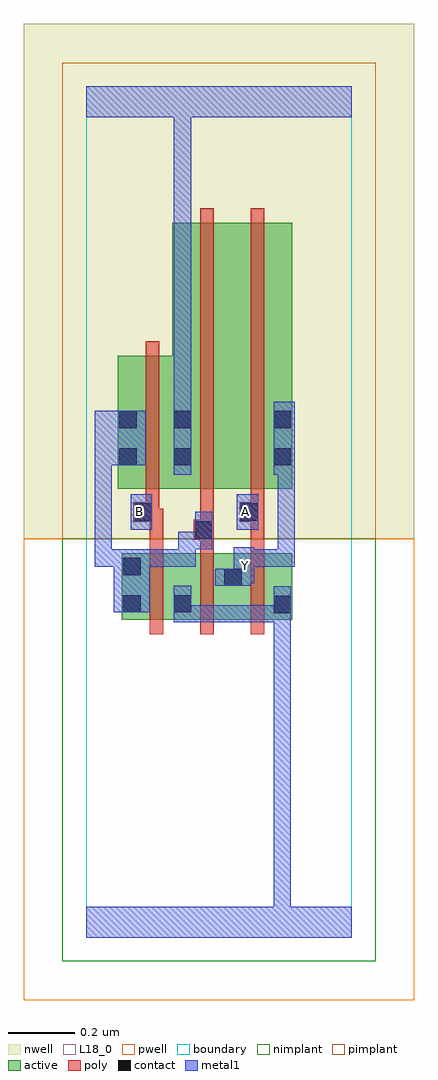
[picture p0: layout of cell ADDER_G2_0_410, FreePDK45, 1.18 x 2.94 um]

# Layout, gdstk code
import gdstk
lib = gdstk.Library(unit=1e-6, precision=1e-09)
def R(c, l, rs):  # rectangles x0, y0, x1, y1
    for r in rs: c.add(gdstk.rectangle(r[:2], r[2:], *l))
def A(c, l, x, y, w, h, nx, ny, dx, dy):  # array of equal rectangles
    R(c, l, [(x+i*dx, y+j*dy, x+i*dx+w, y+j*dy+h) for i in range(nx) for j in range(ny)])
active = (1, 0)
pwell = (2, 0)
nwell = (3, 0)
nimplant = (4, 0)
pimplant = (5, 0)
poly = (9, 0)
contact = (10, 0)
metal1 = (11, 0)
L18_0 = (18, 0)
boundary = (235, 0)

adder_g2_0_410 = lib.new_cell('ADDER_G2_0_410')
R(adder_g2_0_410, active, [(0.108,0.956,0.168,1.156), (0.108,0.956,0.32,1.156), (0.26,0.956,0.472,1.156), (0.26,0.956,0.32,1.034), (0.412,0.956,0.472,1.156), (0.412,0.956,0.62,1.156), (0.56,0.956,0.62,1.156), (0.096,1.35,0.32,1.75), (0.096,1.35,0.156,1.75), (0.26,1.35,0.44,2.15), (0.26,1.35,0.32,2.15), (0.44,1.35,0.62,2.15), (0.56,1.35,0.62,2.044)])
R(adder_g2_0_410, pwell, [(-0.188,-0.188,0.988,1.2)])
R(adder_g2_0_410, nwell, [(-0.188,1.2,0.988,2.748)])
R(adder_g2_0_410, nimplant, [(-0.072,-0.072,0.872,1.2)])
R(adder_g2_0_410, pimplant, [(-0.072,1.2,0.872,2.632)])
A(adder_g2_0_410, poly, 0.192, 0.912, 0.04, 0.288, 3, 1, 0.152, 0)
R(adder_g2_0_410, poly, [(0.192,1.16,0.232,1.29), (0.344,1.16,0.384,1.236), (0.496,1.16,0.536,1.29), (0.324,1.196,0.384,1.256), (0.344,1.216,0.384,1.256), (0.344,1.216,0.384,1.256), (0.344,1.216,0.384,1.346), (0.142,1.25,0.22,1.31), (0.18,1.25,0.22,1.29), (0.18,1.25,0.232,1.29), (0.462,1.25,0.536,1.31), (0.496,1.25,0.536,1.29), (0.496,1.25,0.536,1.29), (0.18,1.27,0.22,1.346), (0.496,1.27,0.536,1.346), (0.18,1.306,0.22,1.794), (0.344,1.306,0.384,2.194), (0.496,1.306,0.536,2.194)])
R(adder_g2_0_410, contact, [(0.564,0.976,0.616,1.028), (0.112,0.978,0.164,1.03), (0.264,0.978,0.316,1.03), (0.416,1.058,0.468,1.11), (0.112,1.09,0.164,1.142), (0.328,1.2,0.38,1.252), (0.146,1.254,0.198,1.306), (0.466,1.254,0.518,1.306), (0.1,1.42,0.152,1.472), (0.264,1.42,0.316,1.472), (0.564,1.42,0.616,1.472), (0.1,1.532,0.152,1.584), (0.264,1.532,0.316,1.584), (0.564,1.532,0.616,1.584)])
R(adder_g2_0_410, metal1, [(0,0,0.8,0.092), (0.564,0.04,0.616,0.092), (0.564,0.04,0.616,0.092), (0.564,0.04,0.616,0.092), (0.564,0.04,0.616,0.092), (0.564,0.04,0.616,0.092), (0.564,0.04,0.616,0.092), (0.564,0.04,0.616,0.092), (0.564,0.04,0.616,0.092), (0.564,0.04,0.616,0.092), (0.564,0.04,0.616,0.092), (0.564,0.04,0.616,0.092), (0.564,0.04,0.616,0.092), (0.564,0.04,0.616,0.092), (0.564,0.04,0.616,0.092), (0.564,0.04,0.616,0.092), (0.564,0.04,0.616,0.092), (0.564,0.04,0.616,1), (0.264,0.948,0.506,1), (0.264,0.948,0.316,1.002), (0.454,0.948,0.506,1), (0.454,0.948,0.616,1), (0.564,0.948,0.616,1), (0.564,0.948,0.616,1), (0.564,0.948,0.616,1.056), (0.264,0.95,0.316,1.002), (0.264,0.95,0.316,1.058), (0.084,0.978,0.192,1.142), (0.388,1.058,0.496,1.11), (0.444,1.058,0.496,1.118), (0.444,1.066,0.506,1.174), (0.084,1.09,0.136,1.168), (0.026,1.116,0.078,1.472), (0.026,1.116,0.136,1.168), (0.084,1.116,0.136,1.168), (0.084,1.116,0.136,1.168), (0.084,1.116,0.33,1.168), (0.278,1.116,0.33,1.22), (0.454,1.116,0.628,1.168), (0.576,1.116,0.628,1.168), (0.576,1.116,0.628,1.168), (0.576,1.116,0.628,1.168), (0.576,1.116,0.628,1.444), (0.278,1.168,0.38,1.22), (0.328,1.168,0.38,1.28), (0.134,1.226,0.198,1.334), (0.454,1.226,0.518,1.334), (0.264,1.392,0.316,1.612), (0.564,1.392,0.628,1.612), (0.576,1.392,0.628,1.444), (0.576,1.392,0.628,1.444), (0.026,1.42,0.078,1.472), (0.026,1.42,0.078,1.472), (0.026,1.42,0.18,1.584), (0.264,1.56,0.316,1.612), (0.264,1.56,0.316,1.612), (0.264,1.56,0.316,2.52), (0,2.468,0.8,2.56), (0.264,2.468,0.316,2.52), (0.264,2.468,0.316,2.52), (0.264,2.468,0.316,2.52), (0.264,2.468,0.316,2.52), (0.264,2.468,0.316,2.52), (0.264,2.468,0.316,2.52)])
R(adder_g2_0_410, L18_0, [(0,0,0.8,0.092), (0.564,0.04,0.616,0.092), (0.564,0.04,0.616,0.092), (0.564,0.04,0.616,0.092), (0.564,0.04,0.616,0.092), (0.564,0.04,0.616,0.092), (0.564,0.04,0.616,0.092), (0.564,0.04,0.616,0.092), (0.564,0.04,0.616,0.092), (0.564,0.04,0.616,0.092), (0.564,0.04,0.616,0.092), (0.564,0.04,0.616,0.092), (0.564,0.04,0.616,0.092), (0.564,0.04,0.616,0.092), (0.564,0.04,0.616,0.092), (0.564,0.04,0.616,0.092), (0.564,0.04,0.616,0.092), (0.564,0.04,0.616,1), (0.264,0.948,0.316,1.002), (0.264,0.948,0.506,1), (0.454,0.948,0.506,1), (0.454,0.948,0.616,1), (0.564,0.948,0.616,1.056), (0.564,0.948,0.616,1), (0.564,0.948,0.616,1), (0.264,0.95,0.316,1.058), (0.264,0.95,0.316,1.002), (0.388,1.058,0.496,1.11), (0.444,1.058,0.496,1.118), (0.444,1.066,0.506,1.174), (0.454,1.094,0.506,1.146), (0.454,1.116,0.628,1.168), (0.576,1.116,0.628,1.168), (0.576,1.116,0.628,1.168), (0.576,1.116,0.628,1.168), (0.576,1.116,0.628,1.444), (0.134,1.226,0.198,1.334), (0.454,1.226,0.518,1.334), (0.134,1.254,0.186,1.306), (0.454,1.254,0.506,1.306), (0.264,1.392,0.316,1.612), (0.564,1.392,0.628,1.612), (0.576,1.392,0.628,1.444), (0.576,1.392,0.628,1.444), (0.264,1.56,0.316,1.612), (0.264,1.56,0.316,1.612), (0.264,1.56,0.316,2.52), (0,2.468,0.8,2.56), (0.264,2.468,0.316,2.52), (0.264,2.468,0.316,2.52), (0.264,2.468,0.316,2.52), (0.264,2.468,0.316,2.52), (0.264,2.468,0.316,2.52), (0.264,2.468,0.316,2.52)])
R(adder_g2_0_410, boundary, [(0,0,0.8,2.56)])
adder_g2_0_410.add(gdstk.Label('A', (0.48,1.28), layer=11, texttype=0))
adder_g2_0_410.add(gdstk.Label('B', (0.16,1.28), layer=11, texttype=0))
adder_g2_0_410.add(gdstk.Label('Y', (0.48,1.12), layer=11, texttype=0))

lib.write_gds('ADDER_G2_0_410.gds')
